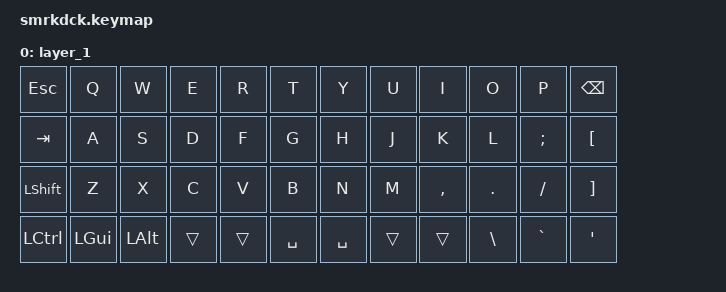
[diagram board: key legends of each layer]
/*
 * Copyright (c) 2020 The ZMK Contributors
 *
 * SPDX-License-Identifier: MIT
 */

#include <behaviors.dtsi>
#include <dt-bindings/zmk/keys.h>

/ {
    keymap {
        compatible = "zmk,keymap";

        layer_1 {
            bindings = <
&kp ESC    &kp Q     &kp W     &kp E   &kp R   &kp T      &kp Y      &kp U   &kp I      &kp O     &kp P      &kp BSPC
&kp TAB    &kp A     &kp S     &kp D   &kp F   &kp G      &kp H      &kp J   &kp K      &kp L     &kp SEMI   &kp LBKT
&kp LSHFT  &kp Z     &kp X     &kp C   &kp V   &kp B      &kp N      &kp M   &kp COMMA  &kp DOT   &kp FSLH   &kp RBKT
&kp LCTRL  &kp LGUI  &kp LALT  &trans  &trans  &kp SPACE  &kp SPACE  &trans  &trans     &kp BSLH  &kp GRAVE  &kp APOS
            >;
        };
    };
};
